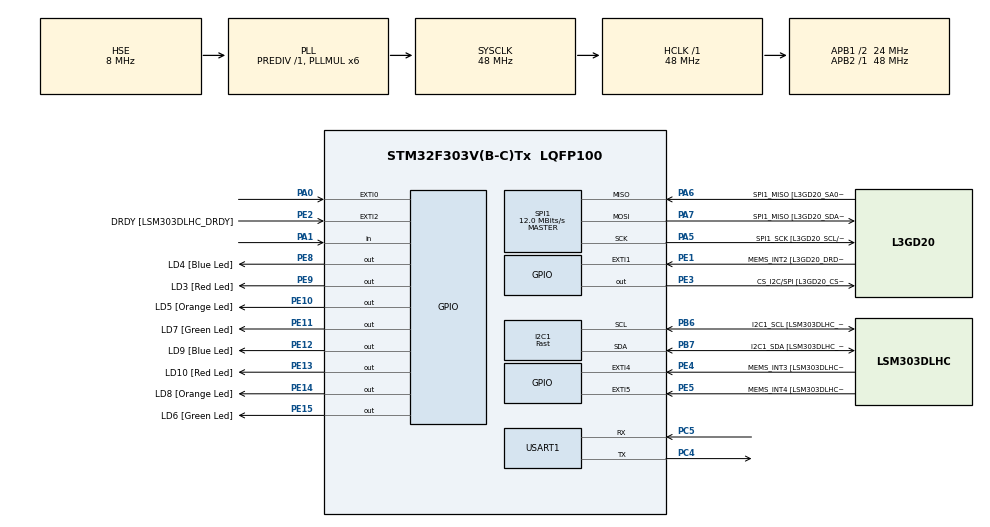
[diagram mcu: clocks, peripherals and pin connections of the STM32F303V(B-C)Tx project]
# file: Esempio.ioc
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I2C1.I2C_Speed_Mode=I2C_Fast
I2C1.Timing=0x0000020B
I2C1.Timing-I2C=0x2000090E
Mcu.Family=STM32F3
Mcu.Name=STM32F303V(B-C)Tx
Mcu.Package=LQFP100
NVIC.EXTI0_IRQn=true\:0\:0\:false\:false\:true\:true\:true\:true
NVIC.PriorityGroup=NVIC_PRIORITYGROUP_0
NVIC.USART1_IRQn=true\:0\:0\:false\:false\:true\:true\:true\:true
PA0.Signal=GPXTI0
PA1.GPIO_PuPd=GPIO_NOPULL
PA1.Signal=GPIO_Input
PA13.GPIO_Label=SWDIO
PA13.Mode=Serial_Wire
PA13.Signal=SYS_JTMS-SWDIO
PA14.GPIO_Label=SWCLK
PA14.Mode=Serial_Wire
PA14.Signal=SYS_JTCK-SWCLK
PA5.GPIO_Label=SPI1_SCK [L3GD20_SCL/SPC]
PA5.Mode=Full_Duplex_Master
PA5.Signal=SPI1_SCK
PA6.GPIO_Label=SPI1_MISO [L3GD20_SA0/SDO]
PA6.Mode=Full_Duplex_Master
PA6.Signal=SPI1_MISO
PA7.GPIO_Label=SPI1_MISO [L3GD20_SDA/SDI/SDO]
PA7.Mode=Full_Duplex_Master
PA7.Signal=SPI1_MOSI
PB3.GPIO_Label=SWO
PB3.Signal=SYS_JTDO-TRACESWO
PB6.GPIO_Label=I2C1_SCL [LSM303DLHC_SCL]
PB6.GPIO_Pu=GPIO_PULLUP
PB6.Mode=I2C
PB6.Signal=I2C1_SCL
PB7.GPIO_Label=I2C1_SDA [LSM303DLHC_SDA]
PB7.GPIO_Pu=GPIO_PULLUP
PB7.Mode=I2C
PB7.Signal=I2C1_SDA
PC14-OSC32_IN.GPIO_Label=OSC32_IN
PC14-OSC32_IN.Signal=RCC_OSC32_IN
PC15-OSC32_OUT.GPIO_Label=OSC32_OUT
PC15-OSC32_OUT.Signal=RCC_OSC32_OUT
PC4.Mode=Asynchronous
PC4.Signal=USART1_TX
PC5.Mode=Asynchronous
PC5.Signal=USART1_RX
PE1.GPIO_Label=MEMS_INT2 [L3GD20_DRDY/INT2]
PE1.GPIO_ModeDefaultEXTI=GPIO_MODE_EVT_RISING
PE1.Signal=GPXTI1
PE10.GPIO_Label=LD5 [Orange Led]
PE10.Signal=GPIO_Output
PE11.GPIO_Label=LD7 [Green Led]
PE11.Signal=GPIO_Output
PE12.GPIO_Label=LD9 [Blue Led]
PE12.Signal=GPIO_Output
PE13.GPIO_Label=LD10 [Red Led]
PE13.Signal=GPIO_Output
PE14.GPIO_Label=LD8 [Orange Led]
PE14.Signal=GPIO_Output
PE15.GPIO_Label=LD6 [Green Led]
PE15.Signal=GPIO_Output
PE2.GPIO_Label=DRDY [LSM303DLHC_DRDY]
PE2.GPIO_ModeDefaultEXTI=GPIO_MODE_EVT_RISING
PE2.Signal=GPXTI2
PE3.GPIO_Label=CS_I2C/SPI [L3GD20_CS_I2C/SPI]
PE3.Signal=GPIO_Output
PE4.GPIO_Label=MEMS_INT3 [LSM303DLHC_INT1]
PE4.GPIO_ModeDefaultEXTI=GPIO_MODE_EVT_RISING
PE4.Signal=GPXTI4
PE5.GPIO_Label=MEMS_INT4 [LSM303DLHC_INT2]
PE5.GPIO_ModeDefaultEXTI=GPIO_MODE_EVT_RISING
PE5.Signal=GPXTI5
PE8.GPIO_Label=LD4 [Blue Led]
PE8.Signal=GPIO_Output
PE9.GPIO_Label=LD3 [Red Led]
PE9.Signal=GPIO_Output
PF0-OSC_IN.GPIO_Label=OSC_IN
PF0-OSC_IN.Mode=HSE-External-Clock-Source
PF0-OSC_IN.Signal=RCC_OSC_IN
PF1-OSC_OUT.GPIO_Label=OSC_OUT
PF1-OSC_OUT.Signal=RCC_OSC_OUT
ProjectManager.HeapSize=0x200
ProjectManager.StackSize=0x400
ProjectManager.TargetToolchain=STM32CubeIDE
RCC.AHBFreq_Value=48000000
RCC.APB1CLKDivider=RCC_HCLK_DIV2
RCC.APB1Freq_Value=24000000
RCC.APB1TimFreq_Value=48000000
RCC.APB2Freq_Value=48000000
RCC.APB2TimFreq_Value=48000000
RCC.CortexFreq_Value=48000000
RCC.HCLKFreq_Value=48000000
RCC.HSE_VALUE=8000000
RCC.HSI_VALUE=8000000
RCC.LSE_VALUE=32768
RCC.PLLMUL=RCC_PLL_MUL6
RCC.PLLSourceVirtual=RCC_PLLSOURCE_HSE
RCC.SYSCLKFreq_VALUE=48000000
RCC.SYSCLKSourceVirtual=RCC_SYSCLKSOURCE_PLLCLK
RCC.USBFreq_Value=48000000
SPI1.BaudRatePrescaler=SPI_BAUDRATEPRESCALER_4
SPI1.BaudRatePrescaler-Full_Duplex_Master=SPI_BAUDRATEPRESCALER_2
SPI1.CalculateBaudRate=12.0 MBits/s
SPI1.CalculateBaudRate-Full_Duplex_Master=24.0 MBits/s
SPI1.Direction=SPI_DIRECTION_2LINES
SPI1.Mode=SPI_MODE_MASTER
SPI1.Mode-Full_Duplex_Master=SPI_MODE_MASTER
SPI1.VirtualType=VM_MASTER
USART1.VirtualMode-Asynchronous=VM_ASYNC
board=STM32F3DISCOVERY

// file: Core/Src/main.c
/* USER CODE BEGIN Header */
/**
  ******************************************************************************
  * @file           : main.c
  * @brief          : Main program body
  ******************************************************************************
  * @attention
  *
  * Copyright (c) 2024 STMicroelectronics.
  * All rights reserved.
  *
  * This software is licensed under terms that can be found in the LICENSE file
  * in the root directory of this software component.
  * If no LICENSE file comes with this software, it is provided AS-IS.
  *
  ******************************************************************************
  */
/* USER CODE END Header */
#include "main.h"

/* USER CODE BEGIN Includes */

#include <stdio.h>
#include "fonts.h"
#include "ssd1306.h"
#include "images.h"
#include "DHT.h"

/* USER CODE END Includes */

I2C_HandleTypeDef hi2c1;

SPI_HandleTypeDef hspi1;

UART_HandleTypeDef huart1;

/* USER CODE BEGIN PV */

float temp[20] ={0,0,0,0,0,0,0,0,0,0,0,0,0,0,0,0,0,0,0,0};
float umid[20] = {0,0,0,0,0,0,0,0,0,0,0,0,0,0,0,0,0,0,0,0};

int i = 0;
char snum[5];
char ums[5];

DHT_DataTypedef dht11;

/* USER CODE END PV */

void SystemClock_Config(void);
static void MX_GPIO_Init(void);
static void MX_I2C1_Init(void);
static void MX_SPI1_Init(void);
static void MX_USART1_UART_Init(void);

int main(void)
{

  /* MCU Configuration--------------------------------------------------------*/

  /* Reset of all peripherals, Initializes the Flash interface and the Systick. */
  HAL_Init();

  /* Configure the system clock */
  SystemClock_Config();

  /* Initialize all configured peripherals */
  MX_GPIO_Init();
  MX_I2C1_Init();
  MX_SPI1_Init();
  MX_USART1_UART_Init();
  /* USER CODE BEGIN 2 */

  	 /**
  	  * Sezione della stampa principale su display
  	  */
  	SSD1306_Init();

    SSD1306_GotoXY (0,0);
    SSD1306_Puts ("AcCU", &Font_11x18, 1);
    SSD1306_GotoXY (15, 30);
    SSD1306_Puts ("Weather", &Font_11x18, 1);
    SSD1306_UpdateScreen();
    HAL_Delay (1000);

    SSD1306_ScrollRight(0,7);
    HAL_Delay(1000);
    SSD1306_ScrollLeft(0,7);
    HAL_Delay(1000);
    SSD1306_Stopscroll();
    SSD1306_Clear();

    SSD1306_GotoXY (15,0);

    SSD1306_Puts ("SISTEMA PRONTO", &Font_7x10, 1);

    SSD1306_GotoXY (25, 30);

    SSD1306_Puts ("PREMI USER", &Font_7x10, 1);

    SSD1306_GotoXY (15, 40);

    SSD1306_Puts ("PER ACQUISIRE.", &Font_7x10, 1);

    SSD1306_UpdateScreen();

  /* USER CODE END 2 */

  /* Infinite loop */
  while (1)
  {

  }
}

void SystemClock_Config(void)
{
  RCC_OscInitTypeDef RCC_OscInitStruct = {0};
  RCC_ClkInitTypeDef RCC_ClkInitStruct = {0};
  RCC_PeriphCLKInitTypeDef PeriphClkInit = {0};

  /** Initializes the RCC Oscillators according to the specified parameters
  * in the RCC_OscInitTypeDef structure.
  */
  RCC_OscInitStruct.OscillatorType = RCC_OSCILLATORTYPE_HSI|RCC_OSCILLATORTYPE_HSE;
  RCC_OscInitStruct.HSEState = RCC_HSE_BYPASS;
  RCC_OscInitStruct.HSEPredivValue = RCC_HSE_PREDIV_DIV1;
  RCC_OscInitStruct.HSIState = RCC_HSI_ON;
  RCC_OscInitStruct.HSICalibrationValue = RCC_HSICALIBRATION_DEFAULT;
  RCC_OscInitStruct.PLL.PLLState = RCC_PLL_ON;
  RCC_OscInitStruct.PLL.PLLSource = RCC_PLLSOURCE_HSE;
  RCC_OscInitStruct.PLL.PLLMUL = RCC_PLL_MUL6;
  if (HAL_RCC_OscConfig(&RCC_OscInitStruct) != HAL_OK)
  {
    Error_Handler();
  }

  /** Initializes the CPU, AHB and APB buses clocks
  */
  RCC_ClkInitStruct.ClockType = RCC_CLOCKTYPE_HCLK|RCC_CLOCKTYPE_SYSCLK
                              |RCC_CLOCKTYPE_PCLK1|RCC_CLOCKTYPE_PCLK2;
  RCC_ClkInitStruct.SYSCLKSource = RCC_SYSCLKSOURCE_PLLCLK;
  RCC_ClkInitStruct.AHBCLKDivider = RCC_SYSCLK_DIV1;
  RCC_ClkInitStruct.APB1CLKDivider = RCC_HCLK_DIV2;
  RCC_ClkInitStruct.APB2CLKDivider = RCC_HCLK_DIV1;

  if (HAL_RCC_ClockConfig(&RCC_ClkInitStruct, FLASH_LATENCY_1) != HAL_OK)
  {
    Error_Handler();
  }
  PeriphClkInit.PeriphClockSelection = RCC_PERIPHCLK_USART1|RCC_PERIPHCLK_I2C1;
  PeriphClkInit.Usart1ClockSelection = RCC_USART1CLKSOURCE_PCLK2;
  PeriphClkInit.I2c1ClockSelection = RCC_I2C1CLKSOURCE_HSI;
  if (HAL_RCCEx_PeriphCLKConfig(&PeriphClkInit) != HAL_OK)
  {
    Error_Handler();
  }
}

static void MX_I2C1_Init(void)
{

  hi2c1.Instance = I2C1;
  hi2c1.Init.Timing = 0x0000020B;
  hi2c1.Init.OwnAddress1 = 0;
  hi2c1.Init.AddressingMode = I2C_ADDRESSINGMODE_7BIT;
  hi2c1.Init.DualAddressMode = I2C_DUALADDRESS_DISABLE;
  hi2c1.Init.OwnAddress2 = 0;
  hi2c1.Init.OwnAddress2Masks = I2C_OA2_NOMASK;
  hi2c1.Init.GeneralCallMode = I2C_GENERALCALL_DISABLE;
  hi2c1.Init.NoStretchMode = I2C_NOSTRETCH_DISABLE;
  if (HAL_I2C_Init(&hi2c1) != HAL_OK)
  {
    Error_Handler();
  }

  /** Configure Analogue filter
  */
  if (HAL_I2CEx_ConfigAnalogFilter(&hi2c1, I2C_ANALOGFILTER_ENABLE) != HAL_OK)
  {
    Error_Handler();
  }

  /** Configure Digital filter
  */
  if (HAL_I2CEx_ConfigDigitalFilter(&hi2c1, 0) != HAL_OK)
  {
    Error_Handler();
  }

}

static void MX_SPI1_Init(void)
{

  /* SPI1 parameter configuration*/
  hspi1.Instance = SPI1;
  hspi1.Init.Mode = SPI_MODE_MASTER;
  hspi1.Init.Direction = SPI_DIRECTION_2LINES;
  hspi1.Init.DataSize = SPI_DATASIZE_4BIT;
  hspi1.Init.CLKPolarity = SPI_POLARITY_LOW;
  hspi1.Init.CLKPhase = SPI_PHASE_1EDGE;
  hspi1.Init.NSS = SPI_NSS_SOFT;
  hspi1.Init.BaudRatePrescaler = SPI_BAUDRATEPRESCALER_4;
  hspi1.Init.FirstBit = SPI_FIRSTBIT_MSB;
  hspi1.Init.TIMode = SPI_TIMODE_DISABLE;
  hspi1.Init.CRCCalculation = SPI_CRCCALCULATION_DISABLE;
  hspi1.Init.CRCPolynomial = 7;
  hspi1.Init.CRCLength = SPI_CRC_LENGTH_DATASIZE;
  hspi1.Init.NSSPMode = SPI_NSS_PULSE_ENABLE;
  if (HAL_SPI_Init(&hspi1) != HAL_OK)
  {
    Error_Handler();
  }

}

static void MX_USART1_UART_Init(void)
{

  huart1.Instance = USART1;
  huart1.Init.BaudRate = 38400;
  huart1.Init.WordLength = UART_WORDLENGTH_8B;
  huart1.Init.StopBits = UART_STOPBITS_1;
  huart1.Init.Parity = UART_PARITY_NONE;
  huart1.Init.Mode = UART_MODE_TX_RX;
  huart1.Init.HwFlowCtl = UART_HWCONTROL_NONE;
  huart1.Init.OverSampling = UART_OVERSAMPLING_16;
  huart1.Init.OneBitSampling = UART_ONE_BIT_SAMPLE_DISABLE;
  huart1.AdvancedInit.AdvFeatureInit = UART_ADVFEATURE_NO_INIT;
  if (HAL_UART_Init(&huart1) != HAL_OK)
  {
    Error_Handler();
  }

}

static void MX_GPIO_Init(void)
{
  GPIO_InitTypeDef GPIO_InitStruct = {0};

  /* GPIO Ports Clock Enable */
  __HAL_RCC_GPIOE_CLK_ENABLE();
  __HAL_RCC_GPIOC_CLK_ENABLE();
  __HAL_RCC_GPIOF_CLK_ENABLE();
  __HAL_RCC_GPIOA_CLK_ENABLE();
  __HAL_RCC_GPIOB_CLK_ENABLE();

  /*Configure GPIO pin Output Level */
  HAL_GPIO_WritePin(GPIOE, CS_I2C_SPI_Pin|LD4_Pin|LD3_Pin|LD5_Pin
                          |LD7_Pin|LD9_Pin|LD10_Pin|LD8_Pin
                          |LD6_Pin, GPIO_PIN_RESET);

  /*Configure GPIO pins : DRDY_Pin MEMS_INT3_Pin MEMS_INT4_Pin MEMS_INT2_Pin */
  GPIO_InitStruct.Pin = DRDY_Pin|MEMS_INT3_Pin|MEMS_INT4_Pin|MEMS_INT2_Pin;
  GPIO_InitStruct.Mode = GPIO_MODE_EVT_RISING;
  GPIO_InitStruct.Pull = GPIO_NOPULL;
  HAL_GPIO_Init(GPIOE, &GPIO_InitStruct);

  /*Configure GPIO pins : CS_I2C_SPI_Pin LD4_Pin LD3_Pin LD5_Pin
                           LD7_Pin LD9_Pin LD10_Pin LD8_Pin
                           LD6_Pin */
  GPIO_InitStruct.Pin = CS_I2C_SPI_Pin|LD4_Pin|LD3_Pin|LD5_Pin
                          |LD7_Pin|LD9_Pin|LD10_Pin|LD8_Pin
                          |LD6_Pin;
  GPIO_InitStruct.Mode = GPIO_MODE_OUTPUT_PP;
  GPIO_InitStruct.Pull = GPIO_NOPULL;
  GPIO_InitStruct.Speed = GPIO_SPEED_FREQ_LOW;
  HAL_GPIO_Init(GPIOE, &GPIO_InitStruct);

  /*Configure GPIO pin : PA0 */
  GPIO_InitStruct.Pin = GPIO_PIN_0;
  GPIO_InitStruct.Mode = GPIO_MODE_IT_RISING;
  GPIO_InitStruct.Pull = GPIO_NOPULL;
  HAL_GPIO_Init(GPIOA, &GPIO_InitStruct);

  /*Configure GPIO pin : PA1 */
  GPIO_InitStruct.Pin = GPIO_PIN_1;
  GPIO_InitStruct.Mode = GPIO_MODE_INPUT;
  GPIO_InitStruct.Pull = GPIO_NOPULL;
  HAL_GPIO_Init(GPIOA, &GPIO_InitStruct);

  /* EXTI interrupt init*/
  HAL_NVIC_SetPriority(EXTI0_IRQn, 0, 0);
  HAL_NVIC_EnableIRQ(EXTI0_IRQn);

}

/* USER CODE BEGIN 4 */

/**
 * Stampa delle misurazioni catturate tramite il tasto USER
 */

void stamponDisplay(){

				 SSD1306_Clear();

				  //TEMPERATURA
				  sprintf(snum, "%.2f", temp[i]); //conversione numero stringa temperatura

				  SSD1306_GotoXY (0, 0); //Posto per T
				  SSD1306_Puts ("T: ", &Font_11x18, 1); //metto sullo scermo T
				  SSD1306_GotoXY (30, 0);  //sposto per inserire

				  SSD1306_Puts (strcat(snum, " C"), &Font_11x18, 1); //print dellatemeoratura

				  //per umidità
				  sprintf(ums, "%.2f", umid[i]);
				  SSD1306_GotoXY (0, 30);
				  SSD1306_Puts ("U: ", &Font_11x18, 1);
				  SSD1306_GotoXY (30, 30);
				  SSD1306_Puts (strcat(ums, "%"), &Font_11x18, 1);

				  if(temp[i]> 20 && umid[i]<60){

					  SSD1306_DrawBitmap(113, 0, sun, 15, 15, 1); //sole

				  } else if ((temp[i]>= 15 &&  temp[i]<= 20) && umid[i]<70){
					  SSD1306_DrawBitmap(113, 0, suncloud, 15, 15, 1); //sole e nuvola

				  } else if (temp[i]<15 && umid[i]>70) {
					  SSD1306_DrawBitmap(113, 30, rainy, 15, 15, 1); //pioggia

				  } else {

					  SSD1306_DrawBitmap(113, 30, cloud, 15, 15, 1); //nuvole

				  }

				  SSD1306_UpdateScreen();
}

/**
 * Stampa che avviene dopo le 20 acquisizioni, informa l'utente che le misurazioni sono state inviate al server
 *
 */

void stamponDisplayWait(){

				 SSD1306_Clear();

				  SSD1306_GotoXY (0, 0); //Posto per T
				  SSD1306_Puts ("Invio al server", &Font_7x10, 1); //metto sullo scermo T

				  SSD1306_UpdateScreen();

				  SSD1306_GotoXY (0, 30);  //sposto per inserire
				  SSD1306_Puts ("Premi per", &Font_7x10, 1); //print dellatemeoratura
				  SSD1306_GotoXY (0, 40);  //sposto per inserire
				  SSD1306_Puts ("continuare...", &Font_7x10, 1); //print dellatemeoratura

				  SSD1306_UpdateScreen();
}

void reInitPA1(){
				  GPIO_InitTypeDef GPIO_InitStruct = {0};
				  GPIO_InitStruct.Pin = GPIO_PIN_1;
				  GPIO_InitStruct.Mode = GPIO_MODE_OUTPUT_PP;
				  GPIO_InitStruct.Pull = GPIO_NOPULL;
				  GPIO_InitStruct.Speed = GPIO_SPEED_FREQ_LOW;

				  HAL_GPIO_Init(GPIOA, &GPIO_InitStruct);

}

/**
 * Funzione per l'invio del dato tramite UART
 */

void sendviaUART(){

				  char buffer[33];

				  sprintf((char*)buffer, "%f,%f,%f\r\n", (float)i,temp[i],umid[i]);

				  HAL_UART_Transmit(&huart1, (uint8_t*)buffer, 33, 10);

				  i=i+1;

				  if(i==20){
					  HAL_GPIO_WritePin(GPIOE, LD10_Pin, GPIO_PIN_SET);
					  i=0;
					  stamponDisplayWait();
				  } else {
					  HAL_GPIO_WritePin(GPIOE, LD10_Pin, GPIO_PIN_RESET);
				  }

				  reInitPA1();

};

void getTempUmidity(){
		DHT_GetData(&dht11);
		float Temperature = dht11.TemperatureD + 0.1* dht11.TemperatureU;
	    float Umidity = dht11.HumidityD + 0.1* dht11.HumidityU;

	    temp[i] = Temperature;
	    umid[i] = Umidity;

}

/**
 * Handler per la pressione del bottone:
 * - Funzione di acquisizione dal sensore
 * - Funzione di stampa sul Display della cattura
 * - Funzione di invio tramite UART
 */
void HAL_GPIO_EXTI_Callback(uint16_t GPIO_Pin)
{

			  getTempUmidity();

			  stamponDisplay(); //stampa sul display i valori cattuarti dal sensore

			  sendviaUART();

}

/* USER CODE END 4 */

void Error_Handler(void)
{
  __disable_irq();
  while (1)
  {
  }
}
